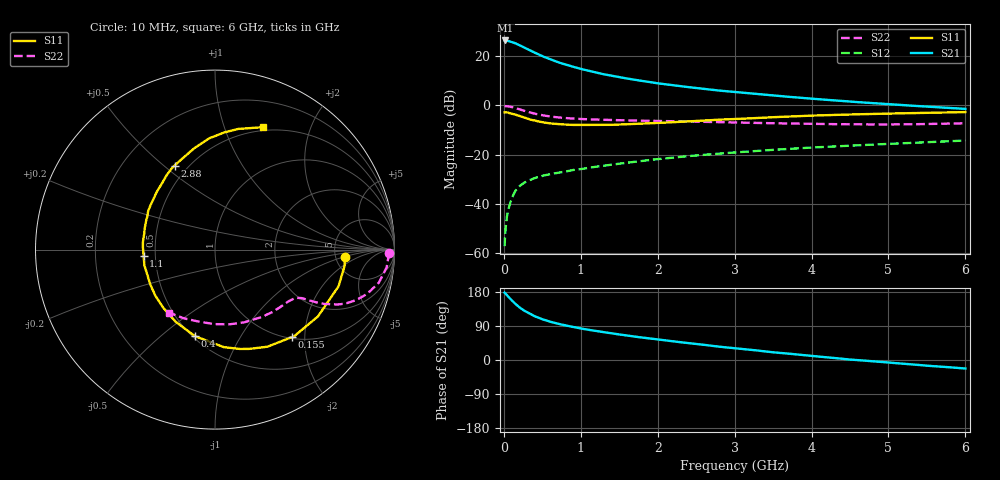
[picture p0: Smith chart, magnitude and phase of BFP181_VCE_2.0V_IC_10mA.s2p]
! Infineon Technologies  Discrete & RF Semiconductors
! BFP181
! VCE = 2.0 V,  IC =  10 mA
! Common Emitter S-Parameters:  Jan 2016
# GHz  S  MA  R  50
!  f  S11  S21  S12  S22
! GHz  MAG  ANG  MAG  ANG  MAG  ANG  MAG  ANG
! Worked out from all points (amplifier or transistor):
!   210 points, 10 MHz to 6 GHz, reference 50 ohm
!   highest |S21| = 26.3 dB at 20 MHz (marker M1)
!   |S21| within 3 dB of that: start of sweep to 274 MHz
!   unconditionally stable (mu >= 1): 948.8 MHz to end of sweep
!   at 185 MHz: K = 0.30, MSG = 29.0 dB, |S12| = -33.4 dB
!   at 1.52 GHz: K = 1.19, MAG = 14.8 dB, |S12| = -23.5 dB
!   at 6 GHz: K = 1.04, MAG = 5.2 dB, |S12| = -14.2 dB
!   S11 on the Smith chart (normalised r, x): 10 MHz: 6.02, -1.08; 155 MHz: 1.02, -1.72; 400 MHz: 0.51, -0.66; 1.1 GHz: 0.43, -0.04; 2.88 GHz: 0.42, +0.55; 6 GHz: 0.46, +1.36
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0.01  0.7231 -3.4  20.64 177.7  0.0014 80.1  0.9706 -1.0
0.02  0.7279 -7.0  20.72 175.7  0.0028 84.2  0.9675 -2.3
0.05  0.7182 -16.5  20.43 168.6  0.0068 83.2  0.9614 -6.0
0.1  0.6839 -33.0  19.33 157.9  0.0126 74.0  0.9307 -11.5
0.155  0.6483 -48.8  18.01 147.2  0.0189 66.5  0.8792 -16.4
0.2  0.6151 -61.6  16.81 139.5  0.0228 63.2  0.8366 -19.6
0.26  0.5711 -75.8  15.03 130.8  0.0268 58.3  0.7802 -22.7
0.3  0.5458 -84.8  14.02 126.0  0.029 55.8  0.7459 -24.2
0.4  0.4948 -103.1  11.77 115.5  0.0335 51.8  0.6784 -26.5
0.5  0.4581 -118.6  9.932 107.5  0.0373 49.0  0.6307 -27.6
0.6  0.4336 -131.7  8.636 101.1  0.0402 48.3  0.5953 -28.3
0.7  0.4201 -142.3  7.517 95.8  0.043 48.4  0.5714 -28.8
0.8  0.4098 -151.6  6.739 91.1  0.0454 48.2  0.5538 -29.2
1.02  0.4019 -168.9  5.396 82.5  0.0516 48.1  0.5281 -30.6
1.1  0.3997 -174.7  5.039 79.6  0.0542 48.5  0.5214 -31.2
1.5  0.4092 163.2  3.737 67.3  0.0659 48.8  0.5013 -35.1
2.02  0.4417 141.7  2.776 53.6  0.0819 47.3  0.4829 -42.0
2.88  0.5194 115.6  1.944 33.5  0.1077 42.8  0.4551 -56.0
3.1  0.5371 110.2  1.806 29.0  0.114 41.5  0.4467 -60.0
4.1  0.6266 91.4  1.331 8.9  0.1423 34.4  0.421 -81.2
5.1  0.6883 78.0  1.034 -8.3  0.1686 27.2  0.4116 -104.7
6  0.7327 68.6  0.85 -22.5  0.1941 20.1  0.4348 -126.2
